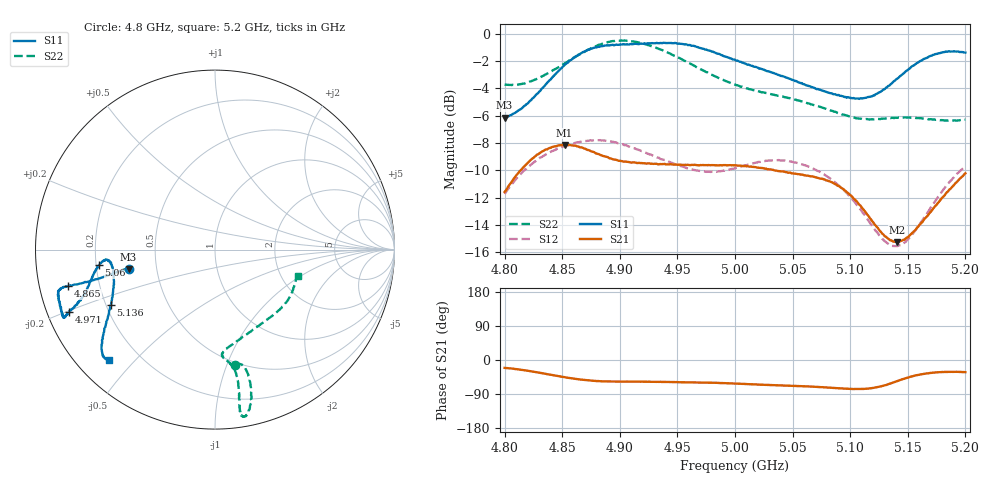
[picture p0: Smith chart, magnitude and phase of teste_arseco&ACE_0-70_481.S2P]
! Network Analyzer HP8722D
! Hewlett-Packard
! Data name: Linha & Wilkinson
! Saver's name: Rodrigo Anjos
! Comments: Teste da utilização de aquisição
! continua pelo VNA HP8722D
! Time and date: 8/5/2025 16:46
!  Frequency  S11  S21  S12  S22
# HZ  S  MA R 50
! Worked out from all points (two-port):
!   401 points, 4.8 GHz to 5.2 GHz, reference 50 ohm
!   highest |S21| = -8.13 dB at 4.852 GHz (marker M1); lowest = -15.2 dB at 5.141 GHz (marker M2)
!   |S21| within 3 dB of the highest: 4.804 GHz to 5.09 GHz (285.9 MHz wide, 5.78 % of centre); 5.189402 GHz to end of sweep
!   lowest |S11| = -6.1 dB at 4.8 GHz (marker M3), VSWR 2.95, Z = 17.1 - j4.88 ohm
!   |S11| at or under -10 dB: nowhere
!   |S22| runs from -6.4 to -0.5 dB; largest |S21 - S12| = 0.62
!   S11 on the Smith chart (normalised r, x): 4.8 GHz: 0.34, -0.10; 4.865 GHz: 0.09, -0.12; 4.971 GHz: 0.06, -0.20; 5.06 GHz: 0.21, -0.06; 5.136 GHz: 0.22, -0.24; 5.2 GHz: 0.09, -0.42
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4.8e9  0.4936 -167.4  0.2636 -20.8  0.2593 -142.0  0.652 -80.2
4.827e9  0.5953 -166.6  0.3572 -31.7  0.3421 -146.2  0.6807 -75.8
4.852e9  0.7678 -165.9  0.3922 -45.3  0.3884 -150.7  0.7773 -75.2
4.865e9  0.8412 -166.1  0.3845 -51.3  0.4017 -152.9  0.8388 -76.0
4.867e9  0.8521 -166.0  0.3835 -52.0  0.403 -153.1  0.8498 -76.2
4.883e9  0.8979 -165.4  0.3602 -56.0  0.408 -155.5  0.9121 -78.0
4.899e9  0.9111 -163.0  0.3428 -57.1  0.3973 -157.4  0.9431 -79.9
4.934e9  0.9231 -156.6  0.3328 -57.8  0.3517 -155.9  0.88 -81.1
4.971e9  0.8847 -156.9  0.3305 -59.6  0.3138 -146.8  0.7392 -80.1
5e9  0.8022 -159.2  0.33 -62.2  0.3225 -137.7  0.6514 -81.7
5.036e9  0.7122 -166.2  0.3157 -66.5  0.3445 -135.2  0.5954 -86.0
5.06e9  0.6531 -172.3  0.3032 -69.1  0.3305 -137.2  0.5622 -84.3
5.067e9  0.6374 -173.5  0.3006 -70.0  0.3226 -137.9  0.551 -82.6
5.082e9  0.6073 -174.8  0.2884 -72.9  0.2967 -139.3  0.5262 -76.9
5.1e9  0.582 -171.8  0.2568 -76.4  0.2531 -139.4  0.4982 -66.4
5.117e9  0.5878 -163.7  0.2117 -75.0  0.2036 -134.5  0.4854 -54.3
5.134e9  0.6461 -153.2  0.1763 -63.0  0.169 -118.5  0.492 -42.8
5.136e9  0.658 -152.0  0.1752 -60.9  0.1675 -116.0  0.4924 -41.5
5.141e9  0.6858 -149.4  0.1731 -55.4  0.167 -109.3  0.4924 -38.8
5.152e9  0.7483 -144.8  0.1834 -44.5  0.1798 -95.6  0.493 -33.1
5.172e9  0.8374 -139.1  0.2292 -33.5  0.2383 -81.1  0.4857 -24.5
5.2e9  0.853 -133.9  0.3084 -32.1  0.3266 -77.8  0.4846 -17.7
